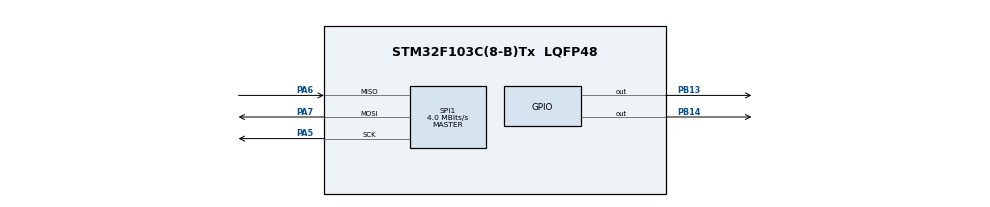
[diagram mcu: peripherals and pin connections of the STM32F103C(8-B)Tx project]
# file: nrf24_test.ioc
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Mcu.Family=STM32F1
Mcu.Name=STM32F103C(8-B)Tx
Mcu.Package=LQFP48
NVIC.PriorityGroup=NVIC_PRIORITYGROUP_4
PA13.Mode=Serial_Wire
PA13.Signal=SYS_JTMS-SWDIO
PA14.Mode=Serial_Wire
PA14.Signal=SYS_JTCK-SWCLK
PA5.Mode=Full_Duplex_Master
PA5.Signal=SPI1_SCK
PA6.Mode=Full_Duplex_Master
PA6.Signal=SPI1_MISO
PA7.Mode=Full_Duplex_Master
PA7.Signal=SPI1_MOSI
PB13.Signal=GPIO_Output
PB14.Signal=GPIO_Output
ProjectManager.HeapSize=0x200
ProjectManager.StackSize=0x400
ProjectManager.TargetToolchain=SW4STM32
RCC.APB1Freq_Value=8000000
RCC.APB2Freq_Value=8000000
SPI1.CalculateBaudRate=4.0 MBits/s
SPI1.Direction=SPI_DIRECTION_2LINES
SPI1.Mode=SPI_MODE_MASTER
SPI1.VirtualType=VM_MASTER
board=custom

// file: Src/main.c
/* USER CODE BEGIN Header */
/**
  ******************************************************************************
  * @file           : main.c
  * @brief          : Main program body
  ******************************************************************************
  ** This notice applies to any and all portions of this file
  * that are not between comment pairs USER CODE BEGIN and
  * USER CODE END. Other portions of this file, whether
  * inserted by the user or by software development tools
  * are owned by their respective copyright owners.
  *
  * COPYRIGHT(c) 2019 STMicroelectronics
  *
  * Redistribution and use in source and binary forms, with or without modification,
  * are permitted provided that the following conditions are met:
  *   1. Redistributions of source code must retain the above copyright notice,
  *      this list of conditions and the following disclaimer.
  *   2. Redistributions in binary form must reproduce the above copyright notice,
  *      this list of conditions and the following disclaimer in the documentation
  *      and/or other materials provided with the distribution.
  *   3. Neither the name of STMicroelectronics nor the names of its contributors
  *      may be used to endorse or promote products derived from this software
  *      without specific prior written permission.
  *
  * THIS SOFTWARE IS PROVIDED BY THE COPYRIGHT HOLDERS AND CONTRIBUTORS "AS IS"
  * AND ANY EXPRESS OR IMPLIED WARRANTIES, INCLUDING, BUT NOT LIMITED TO, THE
  * IMPLIED WARRANTIES OF MERCHANTABILITY AND FITNESS FOR A PARTICULAR PURPOSE ARE
  * DISCLAIMED. IN NO EVENT SHALL THE COPYRIGHT HOLDER OR CONTRIBUTORS BE LIABLE
  * FOR ANY DIRECT, INDIRECT, INCIDENTAL, SPECIAL, EXEMPLARY, OR CONSEQUENTIAL
  * DAMAGES (INCLUDING, BUT NOT LIMITED TO, PROCUREMENT OF SUBSTITUTE GOODS OR
  * SERVICES; LOSS OF USE, DATA, OR PROFITS; OR BUSINESS INTERRUPTION) HOWEVER
  * CAUSED AND ON ANY THEORY OF LIABILITY, WHETHER IN CONTRACT, STRICT LIABILITY,
  * OR TORT (INCLUDING NEGLIGENCE OR OTHERWISE) ARISING IN ANY WAY OUT OF THE USE
  * OF THIS SOFTWARE, EVEN IF ADVISED OF THE POSSIBILITY OF SUCH DAMAGE.
  *
  ******************************************************************************
  */
/* USER CODE END Header */

#include "main.h"
#include "spi.h"
#include "gpio.h"

/* USER CODE BEGIN Includes */
#include "nrf24.h"
/* USER CODE END Includes */

/* USER CODE BEGIN PV */
uint8_t receiver = 1;
/* USER CODE END PV */

void SystemClock_Config(void);

int main(void)
{

  /* MCU Configuration--------------------------------------------------------*/

  /* Reset of all peripherals, Initializes the Flash interface and the Systick. */
  HAL_Init();

  /* Configure the system clock */
  SystemClock_Config();

  /* Initialize all configured peripherals */
  MX_GPIO_Init();
  MX_SPI1_Init();
  /* USER CODE BEGIN 2 */
  HAL_Delay(10);

  nRF24_Init();
  uint8_t ADDR[] = { 'n', 'R', 'F', '2', '4' }; // the address for RX pipe
  nRF24_DisableAA(0xFF); // disable ShockBurst
  nRF24_SetRFChannel(115); // set RF channel to 2490MHz
  nRF24_SetDataRate(nRF24_DR_250kbps); // 2Mbit/s data rate
  nRF24_SetCRCScheme(nRF24_CRC_off); // 1-byte CRC scheme
  nRF24_SetAddrWidth(5); // address width is 5 bytes
  if (receiver){
    nRF24_SetAddr(nRF24_PIPE1, ADDR); // program pipe address
    nRF24_SetRXPipe(nRF24_PIPE1, nRF24_AA_OFF, 14); // enable RX pipe#1 with Auto-ACK: disabled, payload length: 10 bytes
    nRF24_SetOperationalMode(nRF24_MODE_RX); // switch transceiver to the RX mode
    // then pull CE pin to HIGH, and the nRF24 will start a receive...
  } else {
    nRF24_SetTXPower(nRF24_TXPWR_18dBm); // configure TX power
    nRF24_SetAddr(nRF24_PIPETX, ADDR); // program TX address
    nRF24_SetOperationalMode(nRF24_MODE_TX); // switch transceiver to the TX mode
    nRF24_ClearIRQFlags(); // clear any pending IRQ bits
    // the nRF24 is ready for transmission, upload a payload, then pull CE pin to HIGH and it will transmit a packet...
  }
  nRF24_SetPowerMode(nRF24_PWR_UP); // wake-up transceiver (in case if it sleeping)

  volatile uint8_t nrf24_status = nRF24_Check();
  /* USER CODE END 2 */

  /* Infinite loop */
  /* USER CODE BEGIN WHILE */
  volatile uint8_t status;
  volatile uint8_t ret;
  volatile uint8_t cnt = 0;
  while (1)
  {
    /* USER CODE END WHILE */
    if (receiver){
      uint8_t nRF24_payload[32] = {0}; // buffer for payload
      uint8_t payload_length; // variable to store a length of received payload
      uint8_t pipe; // pipe number
      nRF24_CE_H(); // start receiving
      while (1) {
          // constantly poll the status of RX FIFO...
          if (nRF24_GetStatus_RXFIFO() != nRF24_STATUS_RXFIFO_EMPTY) {
              // the RX FIFO have some data, take a note what nRF24 can hold up to three payloads of 32 bytes...
              pipe = nRF24_ReadPayload(nRF24_payload, &payload_length); // read a payload to buffer
              nRF24_ClearIRQFlags(); // clear any pending IRQ bits
              // now the nRF24_payload buffer holds received data
              // payload_length variable holds a length of received data
              // pipe variable holds a number of the pipe which has received the data
              // ... do something with received data ...
              cnt++;
          }
      }
    } else {
      uint8_t payload[] = "Hello World! \n";
      payload[12] = cnt++;
      nRF24_CE_L();
      nRF24_WritePayload(payload, 14); // transfer payload data to transceiver
      nRF24_CE_H(); // assert CE pin (transmission starts)
      while (1) {
          status = nRF24_GetStatus();
          if (status & (nRF24_FLAG_TX_DS | nRF24_FLAG_MAX_RT)) {
              // transmission ended, exit loop
              break;
          }
      }
      nRF24_CE_L(); // de-assert CE pin (nRF24 goes to StandBy-I mode)
      nRF24_ClearIRQFlags(); // clear any pending IRQ flags
      nRF24_FlushTX();
      if (status & nRF24_FLAG_MAX_RT) {
          // Auto retransmit counter exceeds the programmed maximum limit (payload in FIFO is not removed)
          // Also the software can flush the TX FIFO here...
          ret = -1;
          continue;
      }
      if (status & nRF24_FLAG_TX_DS) {
          // Successful transmission
          ret = 0;
          continue;
      }
      nRF24_FlushTX();
      // In fact that should not happen
      ret = -2;
    }
  }
}

void SystemClock_Config(void)
{
  RCC_OscInitTypeDef RCC_OscInitStruct = {0};
  RCC_ClkInitTypeDef RCC_ClkInitStruct = {0};

  /**Initializes the CPU, AHB and APB busses clocks
  */
  RCC_OscInitStruct.OscillatorType = RCC_OSCILLATORTYPE_HSI;
  RCC_OscInitStruct.HSIState = RCC_HSI_ON;
  RCC_OscInitStruct.HSICalibrationValue = RCC_HSICALIBRATION_DEFAULT;
  RCC_OscInitStruct.PLL.PLLState = RCC_PLL_NONE;
  if (HAL_RCC_OscConfig(&RCC_OscInitStruct) != HAL_OK)
  {
    Error_Handler();
  }
  /**Initializes the CPU, AHB and APB busses clocks
  */
  RCC_ClkInitStruct.ClockType = RCC_CLOCKTYPE_HCLK|RCC_CLOCKTYPE_SYSCLK
                              |RCC_CLOCKTYPE_PCLK1|RCC_CLOCKTYPE_PCLK2;
  RCC_ClkInitStruct.SYSCLKSource = RCC_SYSCLKSOURCE_HSI;
  RCC_ClkInitStruct.AHBCLKDivider = RCC_SYSCLK_DIV1;
  RCC_ClkInitStruct.APB1CLKDivider = RCC_HCLK_DIV1;
  RCC_ClkInitStruct.APB2CLKDivider = RCC_HCLK_DIV1;

  if (HAL_RCC_ClockConfig(&RCC_ClkInitStruct, FLASH_LATENCY_0) != HAL_OK)
  {
    Error_Handler();
  }
}

void Error_Handler(void)
{
}

/************************ (C) COPYRIGHT STMicroelectronics *****END OF FILE****/
